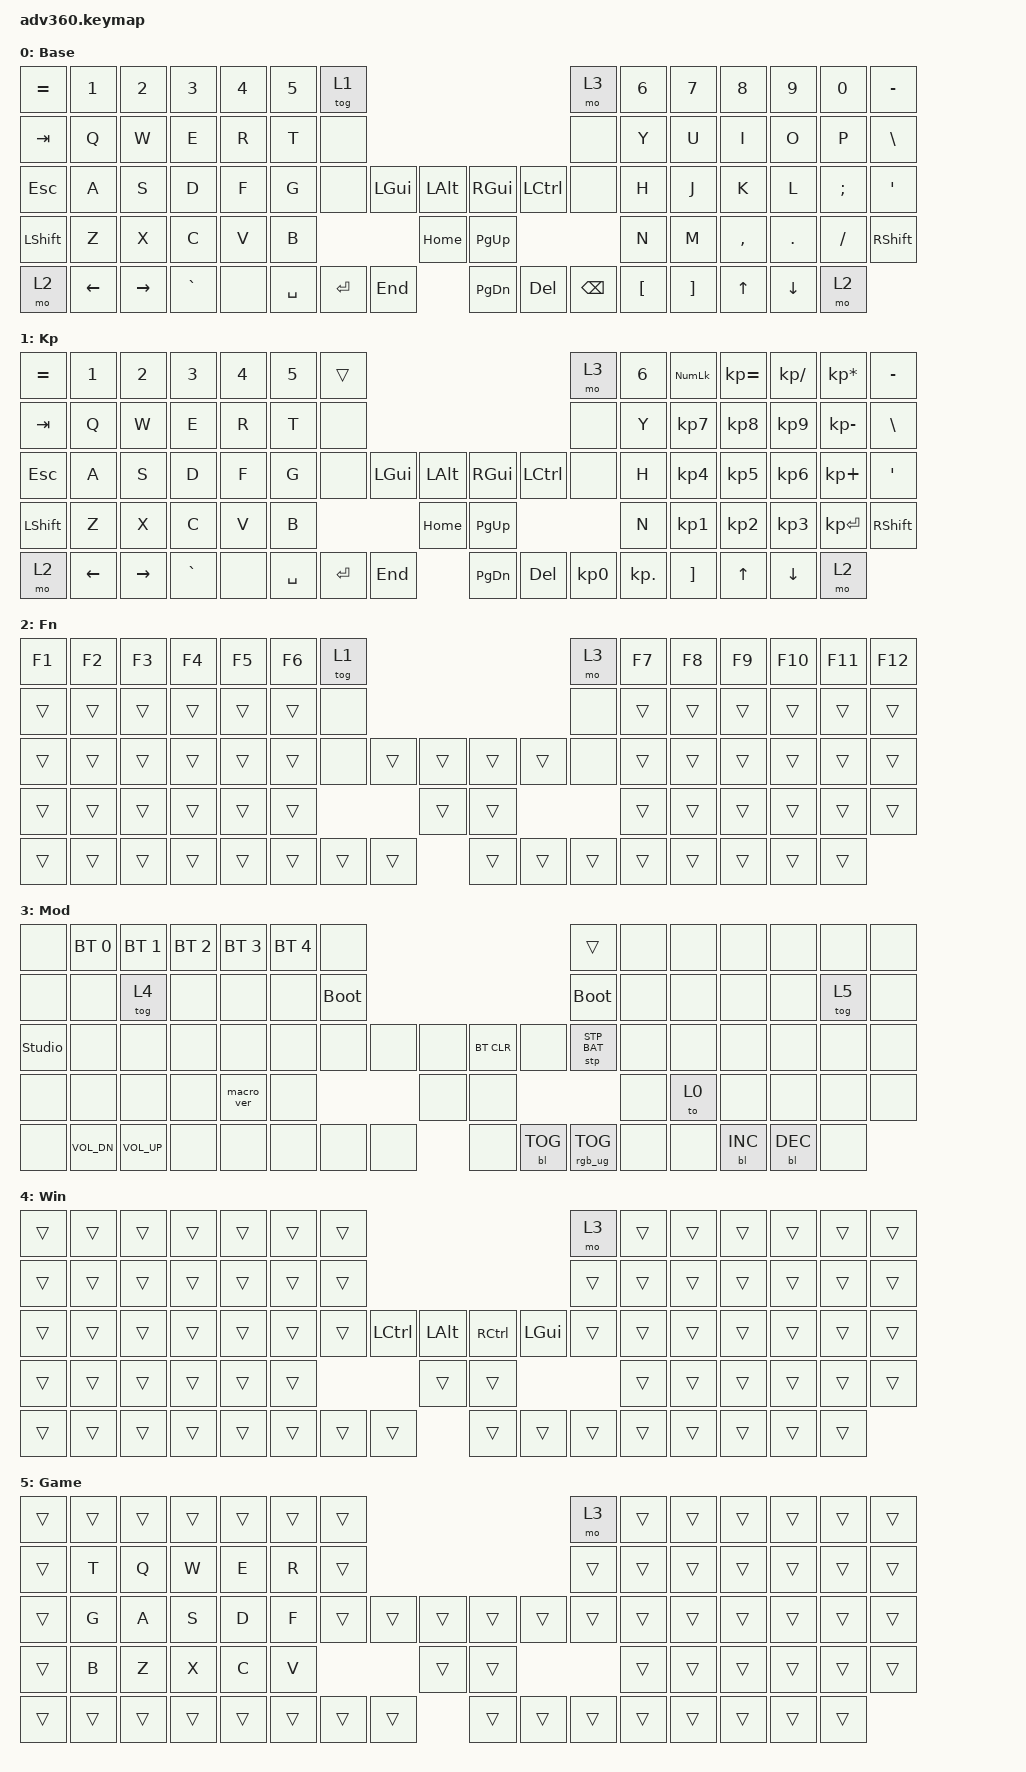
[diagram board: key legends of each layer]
#include <behaviors.dtsi>
#include <dt-bindings/zmk/keys.h>
#include <dt-bindings/zmk/bt.h>
#include <dt-bindings/zmk/rgb.h>
#include <dt-bindings/zmk/stp.h>
#include <dt-bindings/zmk/backlight.h>
#include <dt-bindings/zmk/pointing.h>

/ {
    behaviors {
      #include "macros.dtsi"
      #include "version.dtsi"

      hm: homerow_mods {
          compatible = "zmk,behavior-hold-tap";
          label = "HOMEROW_MODS";
          #binding-cells = <2>;
          tapping-term-ms = <200>;
          quick_tap_ms = <175>;
          flavor = "tap-preferred";
          bindings = <&kp>, <&kp>;
      };
    };

  keymap {
    compatible = "zmk,keymap";

    default_layer {
      display-name = "Base";
      bindings = <
        &kp EQUAL &kp N1    &kp N2   &kp N3   &kp N4     &kp N5 &tog 1                                                               &mo 3 &kp N6 &kp N7 &kp N8    &kp N9   &kp N0   &kp MINUS
        &kp TAB   &kp Q     &kp W    &kp E    &kp R      &kp T  &none                                                                &none &kp Y  &kp U  &kp I     &kp O    &kp P    &kp BSLH
        &kp ESC   &kp A     &kp S    &kp D    &kp F      &kp G  &none           &kp LGUI  &kp LALT &kp RGUI &kp LCTRL                &none &kp H  &kp J  &kp K     &kp L    &kp SEMI &kp SQT
        &kp LSHFT &kp Z     &kp X    &kp C    &kp V      &kp B                            &kp HOME &kp PG_UP                               &kp N  &kp M  &kp COMMA &kp DOT  &kp FSLH &kp RSHFT
        &mo 2     &kp LEFT &kp RIGHT &kp GRAVE &none                &kp SPACE &kp ENTER &kp END  &kp PG_DN &kp DEL &kp BSPC              &kp LBKT &kp RBKT  &kp UP &kp DOWN &mo 2
      >;
    };
    keypad {
      display-name = "Kp";
      bindings = <
        &kp EQUAL &kp N1    &kp N2   &kp N3   &kp N4     &kp N5 &trans                                                               &mo 3 &kp N6 &kp KP_NUM &kp KP_EQUAL &kp KP_DIVIDE &kp KP_MULTIPLY &kp MINUS
        &kp TAB   &kp Q     &kp W    &kp E    &kp R      &kp T  &none                                                                &none &kp Y  &kp KP_N7  &kp KP_N8    &kp KP_N9     &kp KP_MINUS    &kp BSLH
        &kp ESC   &kp A     &kp S    &kp D    &kp F      &kp G  &none           &kp LGUI  &kp LALT &kp RGUI &kp LCTRL                &none &kp H  &kp KP_N4  &kp KP_N5    &kp KP_N6     &kp KP_PLUS     &kp SQT
        &kp LSHFT &kp Z     &kp X    &kp C    &kp V      &kp B                            &kp HOME &kp PG_UP                               &kp N  &kp KP_N1  &kp KP_N2    &kp KP_N3     &kp KP_ENTER    &kp RSHFT
        &mo 2     &kp LEFT &kp RIGHT &kp GRAVE &none                &kp SPACE &kp ENTER &kp END  &kp PG_DN &kp DEL &kp KP_N0              &kp KP_DOT     &kp RBKT     &kp UP    &kp DOWN        &mo 2
      >;
    };
    fn {
      display-name = "Fn";
      bindings = <
        &kp F1 &kp F2 &kp F3 &kp F4 &kp F5 &kp F6 &tog 1                                               &mo 3 &kp F7 &kp F8 &kp F9 &kp F10 &kp F11 &kp F12
        &trans &trans &trans &trans &trans &trans  &none                                               &none &trans &trans &trans &trans  &trans  &trans
        &trans &trans &trans &trans &trans &trans  &none        &trans &trans &trans &trans            &none &trans &trans &trans &trans  &trans  &trans
        &trans &trans &trans &trans &trans &trans                      &trans &trans                         &trans &trans &trans &trans  &trans  &trans
        &trans &trans &trans &trans &trans               &trans &trans &trans &trans &trans &trans                  &trans &trans &trans  &trans  &trans
      >;
    };
    mod {
      display-name = "Mod";
      bindings = <
        &none &bt BT_SEL 0 &bt BT_SEL 1 &bt BT_SEL 2 &bt BT_SEL 3 &bt BT_SEL 4 &none                                                                     &trans                 &none        &none        &none        &none &none &none
        &none &none        &tog 4       &none        &none        &none        &bootloader                                                               &bootloader            &none        &none        &none        &none &tog 5 &none
        &studio_unlock &none        &none        &none        &none        &none        &none                   &none &none &bt BT_CLR &none                      &stp STP_BAT &none        &none        &none        &none  &none &none
        &none &none        &none        &none        &macro_ver   &none                                      &none &none                                                        &none        &to 0        &none        &none &none &none
        &none &kp C_VOL_DN &kp C_VOL_UP &none        &none                                       &none &none &none &none      &bl BL_TOG &rgb_ug RGB_TOG                                     &none        &none        &bl BL_INC &bl BL_DEC &none
      >;
    };
    windows_layer {
      display-name = "Win";
      bindings = <
        &trans &trans &trans &trans &trans &trans &trans                                                               &mo 3  &trans &trans &trans &trans &trans &trans
        &trans &trans &trans &trans &trans &trans &trans                                                               &trans &trans &trans &trans &trans &trans &trans
        &trans &trans &trans &trans &trans &trans &trans          &kp LCTRL &kp LALT &kp RCTRL &kp LGUI               &trans &trans &trans &trans &trans &trans &trans
        &trans &trans &trans &trans &trans &trans                           &trans   &trans                                   &trans &trans &trans &trans &trans &trans
        &trans &trans &trans &trans &trans                &trans &trans &trans &trans &trans &trans                           &trans &trans &trans &trans &trans
      >;
    };

    game_layer {
      display-name = "Game";
      bindings = <
        &trans    &trans    &trans   &trans   &trans     &trans &trans                                                               &mo 3  &trans &trans &trans    &trans   &trans   &trans
        &trans    &kp T     &kp Q    &kp W    &kp E      &kp R  &trans                                                               &trans &trans &trans &trans    &trans   &trans   &trans
        &trans    &kp G     &kp A    &kp S    &kp D      &kp F  &trans          &trans    &trans   &trans    &trans                  &trans &trans &trans &trans    &trans   &trans   &trans
        &trans    &kp B     &kp Z    &kp X    &kp C      &kp V                            &trans   &trans                                   &trans &trans &trans    &trans   &trans   &trans
        &trans    &trans    &trans   &trans   &trans                   &trans &trans &trans &trans &trans &trans                            &trans &trans &trans    &trans   &trans
      >;
    };

    extra3 { 
      display-name = "Cyan";    
      status = "reserved";
    };

    extra4 { 
      display-name = "Yellow";    
      status = "reserved";
    };
  };
};
